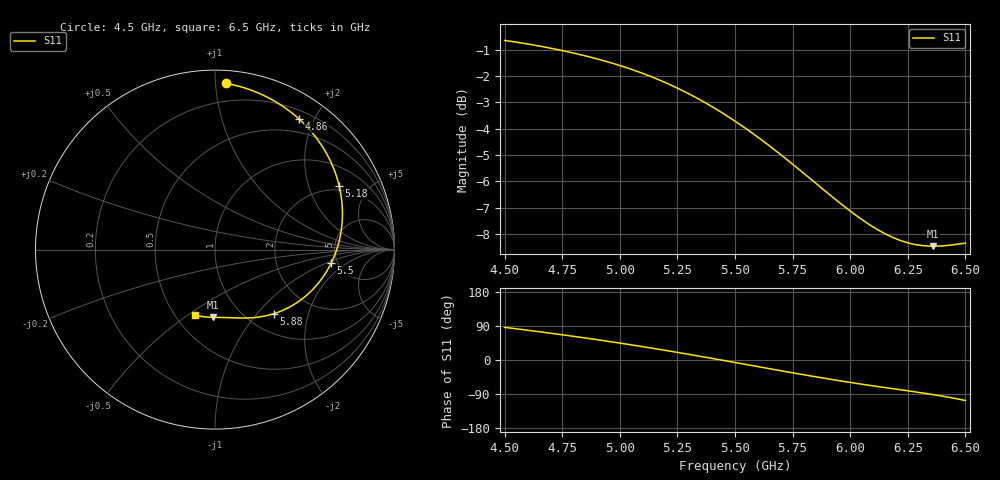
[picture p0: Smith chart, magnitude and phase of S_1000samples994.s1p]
! TOUCHSTONE file generated by CST MICROWAVE STUDIO
! Date and time: Sun Oct 30 00:55:41 2022
! Project name: L.cst
! Parameters = {Di=1.27; Epsilon_r=1.56; InnerDiameter=1.27; Length=2; Lf=10; Lg=60; OuterConductorThickness=0.2921; OuterDiameter=3.6; Wf=3; Wp=41.2; de=1.5; df=6.8; g=0.8; gx=0.836091; gy=3.23096; h=2.34; hf=1.524; px=8.86308; py=12.0552; w=9.7; wx=8.02699; wy=8.82421}
! Header version: 2018
! Port assignment regex: !\s*Touchstone port\s*([0-9]+)\s*=\s*(CST MWS port|CST DS port)\s*([0-9]+|Zmin|Zmax)\s*\(\"(.*)\"\)(\s*mode\s*([0-9]+))?.*
! Touchstone port assignment:
! Touchstone port 1 = CST MWS port 1 ("")
# GHz S DB R 50
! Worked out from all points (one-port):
!   101 points, 4.5 GHz to 6.5 GHz, reference 50 ohm
!   lowest |S11| = -8.5 dB at 6.36 GHz (marker M1), VSWR 2.21, Z = 36.9 - j32.5 ohm
!   |S11| at or under -10 dB: nowhere
!   S11 on the Smith chart (normalised r, x): 4.5 GHz: 0.08, +1.07; 4.86 GHz: 0.31, +1.79; 5.18 GHz: 1.79, +3.21; 5.5 GHz: 4.43, -1.15; 5.88 GHz: 1.32, -1.23; 6.5 GHz: 0.62, -0.53
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4.5  -0.65 86.1
4.56  -0.73 81.6
4.62  -0.82 77.0
4.7  -0.95 70.6
4.76  -1.06 65.7
4.86  -1.26 57.2
4.92  -1.40 51.9
5  -1.60 44.6
5.1  -1.90 35.1
5.18  -2.19 27.2
5.26  -2.51 19.0
5.32  -2.77 12.8
5.38  -3.06 6.4
5.44  -3.38 -0.0
5.5  -3.72 -6.6
5.58  -4.20 -15.3
5.64  -4.59 -21.9
5.7  -5.00 -28.4
5.76  -5.42 -34.8
5.82  -5.85 -41.2
5.88  -6.29 -47.4
5.94  -6.72 -53.4
6  -7.13 -59.2
6.14  -7.94 -71.8
6.26  -8.36 -82.2
6.36  -8.46 -91.4
6.44  -8.42 -99.7
6.5  -8.35 -106.9
